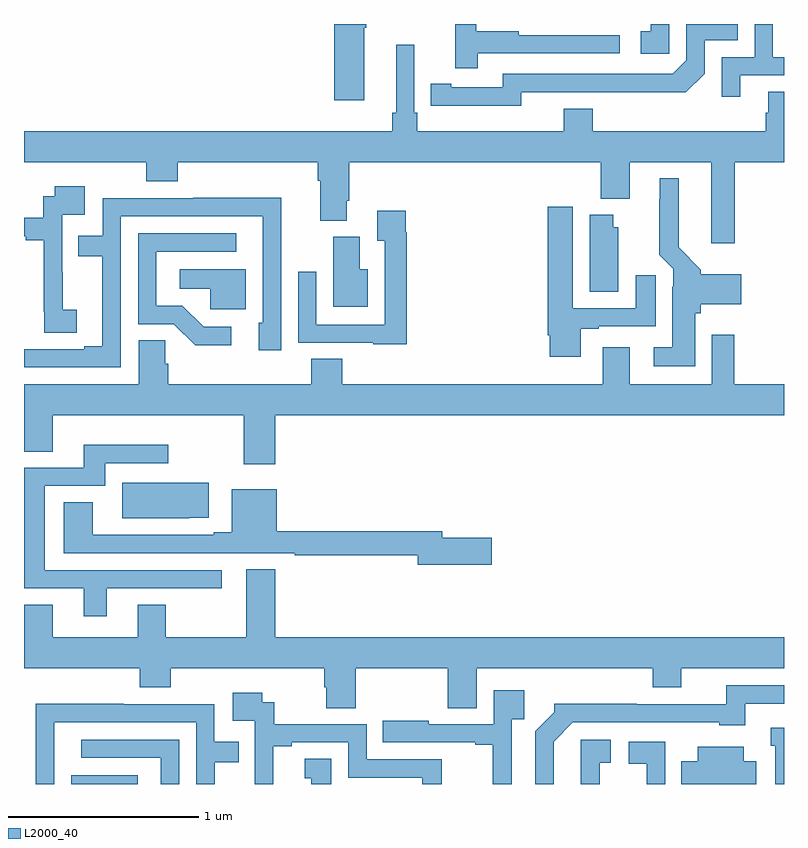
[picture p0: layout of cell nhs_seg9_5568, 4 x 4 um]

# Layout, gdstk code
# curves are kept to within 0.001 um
import gdstk
lib = gdstk.Library(unit=1e-6, precision=1e-09)
def R(c, l, rs):  # rectangles x0, y0, x1, y1
    for r in rs: c.add(gdstk.rectangle(r[:2], r[2:], *l))
def P(c, l, *ps):  # polygons
    for p in ps: c.add(gdstk.Polygon(p, *l))
L2000_40 = (2000, 40)

nhs_seg9_5568 = lib.new_cell('nhs_seg9_5568')
R(nhs_seg9_5568, L2000_40, [(435.248,1174.5,435.598,1174.546)])
P(nhs_seg9_5568, L2000_40, [(437.387,1178.346),(438.136,1178.346),(438.136,1178.442),(437.603,1178.442),(437.603,1178.462),(437.38,1178.462),(437.38,1178.5),(437.27,1178.5),(437.27,1178.268),(437.387,1178.268)],
  [(438.396,1178.5),(438.299,1178.5),(438.299,1178.463),(438.246,1178.463),(438.246,1178.343),(438.396,1178.343)],
  [(436.792,1178.479),(436.8,1178.479),(436.8,1178.5),(436.634,1178.5),(436.634,1178.1),(436.792,1178.1)],
  [(438.769,1178.229),(439,1178.229),(439,1178.325),(438.942,1178.325),(438.942,1178.5),(438.846,1178.5),(438.846,1178.325),(438.672,1178.325),(438.672,1178.118),(438.769,1178.118)],
  [(437.616,1178.142),(438.484,1178.141),(438.582,1178.238),(438.582,1178.415),(438.756,1178.415),(438.756,1178.5),(438.486,1178.5),(438.486,1178.31),(438.414,1178.238),(437.52,1178.238),(437.52,1178.166),(437.248,1178.166),(437.248,1178.186),(437.14,1178.186),(437.14,1178.07),(437.616,1178.069)],
  [(438.74,1177.772),(439,1177.772),(439,1178.144),(438.917,1178.144),(438.917,1178.034),(438.905,1178.034),(438.905,1177.936),(437.993,1177.936),(437.993,1178.053),(437.84,1178.053),(437.84,1177.936),(437.069,1177.936),(437.069,1178.032),(437.055,1178.032),(437.055,1178.392),(436.958,1178.392),(436.958,1178.032),(436.939,1178.032),(436.939,1177.936),(435,1177.936),(435,1177.772),(435.644,1177.772),(435.644,1177.673),(435.809,1177.673),(435.809,1177.772),(436.547,1177.772),(436.547,1177.676),(436.559,1177.676),(436.559,1177.465),(436.699,1177.465),(436.699,1177.57),(436.712,1177.57),(436.712,1177.772),(438.035,1177.772),(438.035,1177.58),(438.187,1177.58),(438.187,1177.772),(438.617,1177.772),(438.617,1177.347),(438.74,1177.347)],
  [(438.532,1176.978),(438.563,1176.978),(438.563,1177.025),(438.775,1177.025),(438.775,1177.183),(438.563,1177.183),(438.563,1177.206),(438.445,1177.324),(438.445,1177.687),(438.347,1177.687),(438.347,1177.577),(438.343,1177.577),(438.343,1177.286),(438.417,1177.212),(438.417,1177.118),(438.413,1177.118),(438.413,1176.799),(438.315,1176.799),(438.315,1176.698),(438.532,1176.698)],
  [(435.277,1176.996),(435.203,1176.996),(435.203,1177.193),(435.201,1177.193),(435.201,1177.497),(435.319,1177.497),(435.319,1177.645),(435.163,1177.645),(435.163,1177.593),(435.1,1177.593),(435.1,1177.479),(435,1177.479),(435,1177.383),(435.008,1177.383),(435.008,1177.363),(435.104,1177.363),(435.104,1176.985),(435.106,1176.985),(435.106,1176.874),(435.277,1176.874)],
  [(435.51,1177.488),(436.257,1177.488),(436.257,1176.927),(436.235,1176.927),(436.235,1176.783),(436.353,1176.783),(436.353,1177.282),(436.355,1177.282),(436.355,1177.586),(435.892,1177.586),(435.892,1177.584),(435.414,1177.584),(435.414,1177.386),(435.286,1177.386),(435.286,1177.278),(435.413,1177.278),(435.413,1176.804),(435.317,1176.804),(435.317,1176.789),(435,1176.789),(435,1176.693),(435.51,1176.693)],
  [(437.929,1176.897),(438.025,1176.897),(438.025,1176.909),(438.325,1176.909),(438.325,1177.177),(438.221,1177.177),(438.221,1177.005),(437.887,1177.005),(437.887,1177.537),(437.756,1177.537),(437.756,1176.862),(437.768,1176.862),(437.768,1176.75),(437.929,1176.75)],
  [(437.015,1177.403),(437.008,1177.403),(437.008,1177.516),(436.859,1177.516),(436.859,1177.36),(436.899,1177.36),(436.899,1176.918),(436.539,1176.918),(436.539,1177.195),(436.443,1177.195),(436.443,1176.822),(436.839,1176.822),(436.839,1176.815),(437.015,1176.815)],
  [(438.127,1177.431),(438.1,1177.431),(438.1,1177.495),(437.978,1177.495),(437.978,1177.09),(438.127,1177.09)],
  [(436.09,1176.906),(435.945,1176.906),(435.834,1177.017),(435.696,1177.017),(435.696,1177.302),(436.117,1177.302),(436.117,1177.398),(435.6,1177.398),(435.6,1176.921),(435.789,1176.921),(435.902,1176.809),(436.09,1176.809)],
  [(436.81,1177.21),(436.768,1177.21),(436.768,1177.38),(436.628,1177.38),(436.628,1177.013),(436.81,1177.013)],
  [(436.168,1177.21),(435.819,1177.21),(435.819,1177.106),(435.981,1177.106),(435.981,1176.999),(436.168,1176.999)],
  [(436.322,1176.44),(439,1176.44),(439,1176.604),(438.737,1176.604),(438.737,1176.865),(438.621,1176.865),(438.621,1176.604),(438.187,1176.604),(438.187,1176.799),(438.047,1176.799),(438.047,1176.604),(436.676,1176.604),(436.676,1176.737),(436.511,1176.737),(436.511,1176.604),(435.758,1176.604),(435.758,1176.713),(435.744,1176.713),(435.744,1176.836),(435.605,1176.836),(435.605,1176.604),(435,1176.604),(435,1176.25),(435.151,1176.25),(435.151,1176.44),(436.157,1176.44),(436.157,1176.183),(436.322,1176.183)],
  [(435.436,1175.529),(436.042,1175.529),(436.042,1175.625),(435.109,1175.625),(435.109,1176.069),(435.427,1176.069),(435.427,1176.189),(435.76,1176.189),(435.76,1176.286),(435.314,1176.286),(435.314,1176.165),(435,1176.165),(435,1175.529),(435.314,1175.529),(435.314,1175.382),(435.436,1175.382)],
  [(435.869,1175.901),(435.972,1175.901),(435.972,1176.085),(435.518,1176.085),(435.518,1175.9),(435.869,1175.9)],
  [(437.461,1175.795),(437.2,1175.795),(437.2,1175.831),(436.33,1175.831),(436.33,1176.052),(436.094,1176.052),(436.094,1175.825),(435.998,1175.825),(435.998,1175.811),(435.361,1175.811),(435.361,1175.983),(435.209,1175.983),(435.209,1175.715),(436.426,1175.715),(436.426,1175.703),(437.072,1175.703),(437.072,1175.653),(437.461,1175.653)],
  [(436.745,1175.108),(437.231,1175.108),(437.231,1174.9),(437.383,1174.9),(437.383,1175.108),(438.308,1175.108),(438.308,1175.009),(438.46,1175.009),(438.46,1175.108),(439,1175.108),(439,1175.272),(436.322,1175.272),(436.322,1175.63),(436.169,1175.63),(436.169,1175.272),(435.747,1175.272),(435.747,1175.444),(435.599,1175.444),(435.599,1175.272),(435.151,1175.272),(435.151,1175.444),(435,1175.444),(435,1175.108),(435.608,1175.108),(435.608,1175.009),(435.773,1175.009),(435.773,1175.108),(436.58,1175.108),(436.58,1175.01),(436.592,1175.01),(436.592,1174.9),(436.745,1174.9)],
  [(437.788,1174.723),(437.889,1174.824),(438.66,1174.824),(438.66,1174.808),(438.796,1174.808),(438.796,1174.923),(439,1174.923),(439,1175.019),(438.697,1175.019),(438.697,1174.92),(438.224,1174.92),(438.224,1174.922),(437.79,1174.922),(437.79,1174.877),(437.691,1174.778),(437.691,1174.5),(437.788,1174.5)],
  [(437.568,1174.841),(437.633,1174.841),(437.633,1174.993),(437.472,1174.993),(437.472,1174.815),(437.131,1174.815),(437.131,1174.834),(436.888,1174.834),(436.888,1174.719),(437.375,1174.719),(437.375,1174.707),(437.467,1174.707),(437.467,1174.5),(437.568,1174.5)],
  [(436.312,1174.699),(436.408,1174.699),(436.408,1174.719),(436.707,1174.719),(436.707,1174.533),(437.097,1174.533),(437.097,1174.5),(437.198,1174.5),(437.198,1174.629),(436.803,1174.629),(436.803,1174.815),(436.316,1174.815),(436.316,1174.929),(436.254,1174.929),(436.254,1174.981),(436.098,1174.981),(436.098,1174.833),(436.215,1174.833),(436.215,1174.529),(436.214,1174.529),(436.214,1174.5),(436.312,1174.5)],
  [(435.159,1174.824),(435.906,1174.824),(435.906,1174.5),(436.003,1174.5),(436.003,1174.614),(436.13,1174.614),(436.13,1174.722),(436.002,1174.722),(436.002,1174.92),(435.524,1174.92),(435.524,1174.922),(435.062,1174.922),(435.062,1174.618),(435.063,1174.618),(435.063,1174.5),(435.159,1174.5)],
  [(439,1174.795),(438.929,1174.795),(438.929,1174.701),(438.954,1174.701),(438.954,1174.5),(439,1174.5)],
  [(435.816,1174.734),(435.3,1174.734),(435.3,1174.638),(435.72,1174.638),(435.72,1174.5),(435.816,1174.5)],
  [(438.03,1174.611),(438.088,1174.611),(438.088,1174.732),(437.93,1174.732),(437.93,1174.5),(438.03,1174.5)],
  [(438.375,1174.722),(438.183,1174.722),(438.183,1174.606),(438.277,1174.606),(438.277,1174.5),(438.375,1174.5)],
  [(438.853,1174.621),(438.787,1174.621),(438.787,1174.696),(438.545,1174.696),(438.545,1174.621),(438.46,1174.621),(438.46,1174.5),(438.853,1174.5)],
  [(436.618,1174.634),(436.478,1174.634),(436.478,1174.531),(436.511,1174.531),(436.511,1174.5),(436.618,1174.5)])

lib.write_gds('nhs_seg9_5568.gds')
